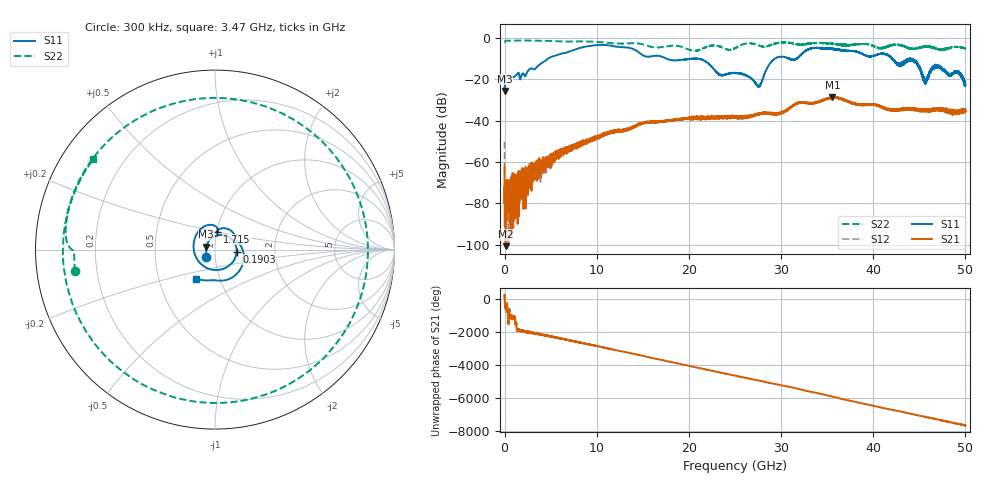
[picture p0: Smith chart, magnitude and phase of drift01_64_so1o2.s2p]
!Created with skrf (http://scikit-rf.org).
# Hz S RI R 50.0
!freq ReS11 ImS11 ReS21 ImS21 ReS12 ImS12 ReS22 ImS22
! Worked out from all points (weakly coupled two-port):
!   10001 points, 300 kHz to 50 GHz, reference 50 ohm
!   highest |S21| = -28.66 dB at 35.58 GHz (marker M1); lowest = -100.6 dB at 110.3 MHz (marker M2)
!   lowest |S11| = -25.7 dB at 5.3 MHz (marker M3), VSWR 1.11, Z = 45.3 + j1.44 ohm
!   |S11| at or under -10 dB: start of sweep to 4.764 GHz; 17.52 GHz to 29.37 GHz (11.85 GHz wide, 50.6 % of centre); 44 GHz to end of sweep (the widest 3 of 10)
!   |S22| runs from -6.4 to -1.3 dB; largest |S21 - S12| = 0.0035
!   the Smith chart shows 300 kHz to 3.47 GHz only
!   S11 on the Smith chart (normalised r, x): 300 kHz: 0.91, -0.07; 190.3 MHz: 1.27, -0.03; 1.715 GHz: 1.00, +0.20; 3.47 GHz: 0.77, -0.26
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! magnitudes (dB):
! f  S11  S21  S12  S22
! 300 kHz  -24.1  -62.4  -50.2  -2.0
! 5.3 MHz  -25.7  -79.8  -70.8  -2.1
! 110.3 MHz  -18.8  -100.6  -77.3  -1.5
! 190.3 MHz  -18.4  -76.5  -75.0  -1.4
! 290.3 MHz  -18.3  -77.0  -72.8  -1.4
! 1.715 GHz  -19.9  -72.6  -69.7  -1.4
! 3.47 GHz  -14.3  -65.4  -63.3  -1.5
! 8.335 GHz  -4.8  -50.7  -51.1  -1.8
! 16.67 GHz  -8.8  -40.4  -40.5  -4.8
! 21.2 GHz  -10.3  -38.7  -39.3  -5.8
! 25 GHz  -16.9  -38.3  -38.6  -5.0
! 27.6 GHz  -23.4  -36.8  -36.8  -3.8
! 29.29 GHz  -10.3  -36.9  -36.8  -2.9
! 31.49 GHz  -10.6  -32.3  -32.3  -2.9
! 33.34 GHz  -5.1  -31.7  -31.5  -2.7
! 35.58 GHz  -5.5  -28.7  -29.1  -3.1
! 41.67 GHz  -8.6  -34.5  -34.7  -3.9
! 42.8 GHz  -12.5  -35.2  -34.6  -3.5
! 44.49 GHz  -11.4  -34.5  -34.5  -5.3
! 45.63 GHz  -20.5  -35.1  -34.8  -4.2
! 46.95 GHz  -13.4  -34.6  -34.7  -5.3
! 50 GHz  -22.2  -35.0  -34.7  -5.2
